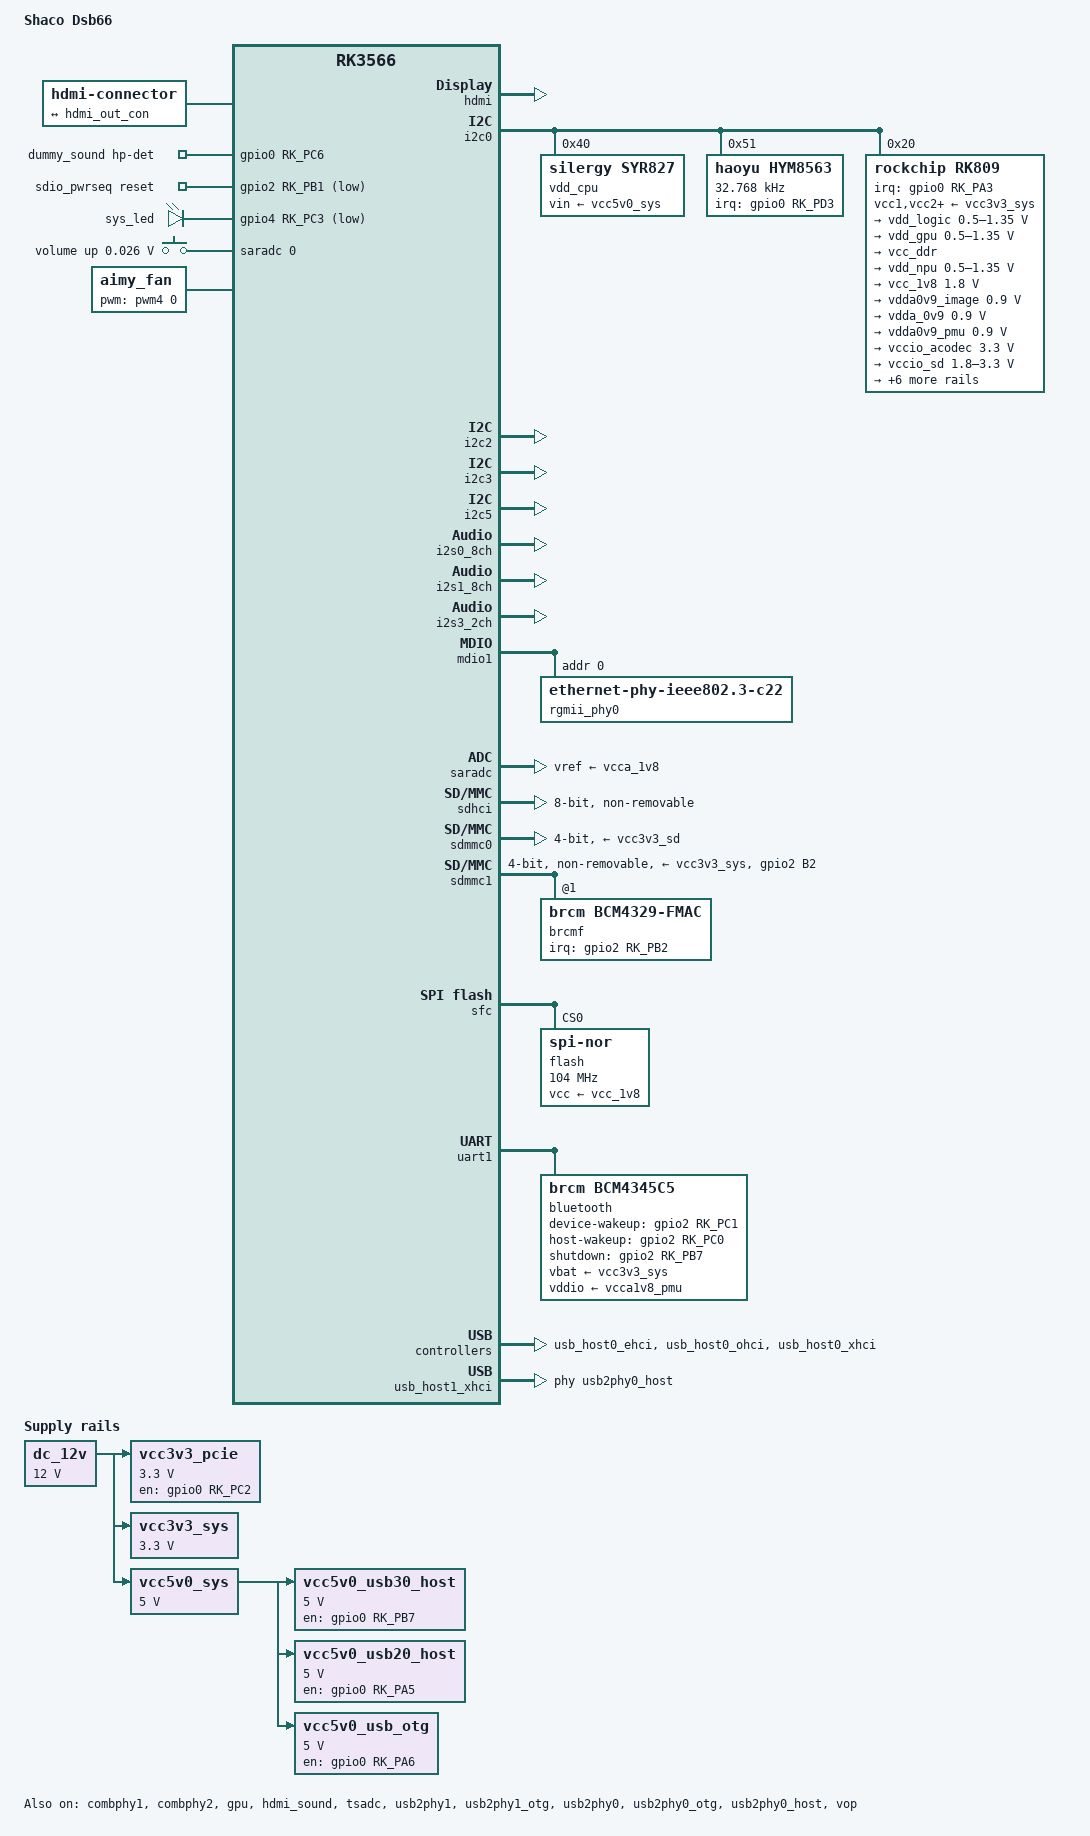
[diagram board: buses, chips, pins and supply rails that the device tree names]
// SPDX-License-Identifier: (GPL-2.0+ OR MIT)

/dts-v1/;
#include <dt-bindings/gpio/gpio.h>
#include <dt-bindings/leds/common.h>
#include <dt-bindings/pinctrl/rockchip.h>
#include <dt-bindings/soc/rockchip,vop2.h>
#include <dt-bindings/input/input.h>
#include "rk3566.dtsi"

/ {
	model = "Shaco Dsb66";
	compatible = "shaco,dsb66", "rockchip,rk3566";

	aliases {
		//ethernet0 = &gmac1;
		mmc0 = &sdmmc0;
		mmc1 = &sdmmc1;
		mmc2 = &sdhci;
		rtc0 = &hym8563;
		rtc1 = &rk809;
	};

	chosen: chosen {
		//stdout-path = "serial2:1500000n8";
		bootargs = "androidboot.serialno=e3bbf55a7ff958e0 no_console_suspend rw rootwait earlycon=uart8250,mmio32,0xfe660000 console=ttyFIQ0";
		//bootargs = "androidboot.serialno=fda8de96e2a5cc73  no_console_suspend rw rootwait earlycon=uart8250,mmio32,0xfe660000";
		//还是要加FIQ0
		//bootargs = "androidboot.serialno=fda8de96e2a5cc73  no_console_suspend rw rootwait earlycon=uart8250,mmio32,0xfe660000 console=ttyFIQ0 loglevel=7";
		//bootargs = "androidboot.serialno=fda8de96e2a5cc73  no_console_suspend rw rootwait earlycon=uart8250,mmio32,0xfe660000 console=ttyFIQ0 loglevel=7";
	};

	reserved-memory {
		#address-cells = <2>;
		#size-cells = <2>;
		ranges;

		//drm-logo@7df00000 {
		//	compatible = "rockchip,drm-logo";
		//	reg = <0x00 0x7df00000 0x00 0x20754c>;
		//};

		//drm-cubic-lut@7ff00000 {
		//	compatible = "rockchip,drm-cubic-lut";
		//	reg = <0x00 0x7ff00000 0x00 0x8000>;
		//};

		ramoops: ramoops@110000 {
			compatible = "ramoops";
			reg = <0 0x110000 0 0xf0000>;
			console-size = <0x80000>;
			ftrace-size = <0x00000>;
			pmsg-size = <0x50000>;
			record-size = <0x20000>;
		};
	};

	fiq-debugger {
		compatible = "rockchip,fiq-debugger";
		rockchip,serial-id = <2>;
		//rockchip,signal-irq = <186>;
		rockchip,wake-irq = <0>;
		rockchip,irq-mode-enable = <1>;
		rockchip,baudrate = <115200>;
		interrupts = <GIC_SPI 252 IRQ_TYPE_LEVEL_LOW>;
		pinctrl-names = "default";
		pinctrl-0 = <&uart2m0_xfer>;
		//status = "disabled";
		status = "okay";
	};

	//gmac1_clkin: external-gmac1-clock {
	//	compatible = "fixed-clock";
	//	clock-frequency = <125000000>;
	//	clock-output-names = "gmac1_clkin";
	//	#clock-cells = <0>;
	//};

	hdmi-con {
		compatible = "hdmi-connector";
		type = "a";

		port {
			hdmi_con_in: endpoint {
				remote-endpoint = <&hdmi_out_con>;
			};
		};
	};

	//leds {
	//	compatible = "gpio-leds";

	//	led-0 {
	//		gpios = <&gpio0 RK_PA0 GPIO_ACTIVE_HIGH>;
	//		function = LED_FUNCTION_HEARTBEAT;
	//		color = <LED_COLOR_ID_BLUE>;
	//		linux,default-trigger = "heartbeat";
	//		pinctrl-names = "default";
	//		pinctrl-0 = <&user_led2>;
	//	};
	//};

	dummy_codec: dummy-codec {
		status = "okay";
		compatible = "rockchip,dummy-codec";
		#sound-dai-cells = <0>;
	};

	// I2S1 ---> PCM5102A
	dummy_sound: dummy-sound {
		status = "okay";
		compatible = "simple-audio-card";
		simple-audio-card,format = "i2s";
		simple-audio-card,name = "rockchip,i2s1-dummy-codec";
		simple-audio-card,mclk-fs = <256>;
		hp-det-gpio = <&gpio0 RK_PC6 GPIO_ACTIVE_HIGH>;

		simple-audio-card,cpu {
			sound-dai = <&i2s1_8ch>;
		};
		simple-audio-card,codec {
			sound-dai = <&dummy_codec>;
		};
	};

	sdio_pwrseq: sdio-pwrseq {
		compatible = "mmc-pwrseq-simple";
		//clocks = <&rk809 1>;
		clocks = <&hym8563>;
		clock-names = "ext_clock";
		pinctrl-names = "default";
		pinctrl-0 = <&wifi_reg_on_h>;
		//post-power-on-delay-ms = <100>;
		post-power-on-delay-ms = <200>;
		power-off-delay-us = <5000000>;
		//reset-gpios = <&gpio0 RK_PC0 GPIO_ACTIVE_LOW>;
		reset-gpios = <&gpio2 RK_PB1 GPIO_ACTIVE_LOW>;
		status = "okay";
	};

	//这两个驱动都没有加进来.....
	debug: debug@fd904000 {
		compatible = "rockchip,debug";
		reg = <0x0 0xfd904000 0x0 0x1000>,
			<0x0 0xfd905000 0x0 0x1000>,
			<0x0 0xfd906000 0x0 0x1000>,
			<0x0 0xfd907000 0x0 0x1000>;
	};

	cspmu: cspmu@fd90c000 {
		compatible = "rockchip,cspmu";
		reg = <0x0 0xfd90c000 0x0 0x1000>,
			<0x0 0xfd90d000 0x0 0x1000>,
			<0x0 0xfd90e000 0x0 0x1000>,
			<0x0 0xfd90f000 0x0 0x1000>;
	};

	//一个是4 pc2,一个是4 pc3
	gpio-leds {
		compatible = "gpio-leds";

		sys_led: sys-led {
			label = "sys_led";
			linux,default-trigger = "heartbeat";
			default-state = "on";
			//gpios = <&gpio0 RK_PC5 GPIO_ACTIVE_LOW>;
			gpios = <&gpio4 RK_PC3 GPIO_ACTIVE_LOW>;
			pinctrl-names = "default";
			pinctrl-0 = <&sys_led_pin>;
		};
	};

	//vcc5v_dcin: vcc5v-dcin-regulator {
	//	compatible = "regulator-fixed";
	//	regulator-name = "vcc5v_dcin";
	//	regulator-always-on;
	//	regulator-boot-on;
	//	regulator-min-microvolt = <5000000>;
	//	regulator-max-microvolt = <5000000>;
	//};
	dc_12v: dc-12v {
		compatible = "regulator-fixed";
		regulator-name = "dc_12v";
		regulator-always-on;
		regulator-boot-on;
		regulator-min-microvolt = <12000000>;
		regulator-max-microvolt = <12000000>;
	};


	vcc3v3_pcie: vcc3v3-pcie-regulator {
		compatible = "regulator-fixed";
		enable-active-high;
		//gpios = <&gpio0 RK_PA6 GPIO_ACTIVE_HIGH>;
		gpios = <&gpio0 RK_PC2 GPIO_ACTIVE_HIGH>;
		pinctrl-names = "default";
		//pinctrl-0 = <&pcie_pwr_en>;
		regulator-name = "vcc3v3_pcie";
		regulator-min-microvolt = <3300000>;
		regulator-max-microvolt = <3300000>;
		startup-delay-us = <5000>;
		//vin-supply = <&vcc3v3_sys>;
		vin-supply = <&dc_12v>;
	};

	vcc3v3_sys: vcc3v3-sys-regulator {
		compatible = "regulator-fixed";
		regulator-name = "vcc3v3_sys";
		regulator-always-on;
		regulator-boot-on;
		regulator-min-microvolt = <3300000>;
		regulator-max-microvolt = <3300000>;
		//vin-supply = <&vcc5v0_sys>;
		vin-supply = <&dc_12v>;
	};

	vcc5v0_sys: vcc5v0-sys-regulator {
		compatible = "regulator-fixed";
		regulator-name = "vcc5v0_sys";
		regulator-always-on;
		regulator-boot-on;
		regulator-min-microvolt = <5000000>;
		regulator-max-microvolt = <5000000>;
		//vin-supply = <&vcc5v_dcin>;
		vin-supply = <&dc_12v>;
	};

	vcc5v0_usb30_host: vcc5v0-usb30-host-regulator {
		compatible = "regulator-fixed";
		enable-active-high;
		//gpio = <&gpio0 RK_PC5 GPIO_ACTIVE_HIGH>;
		gpio = <&gpio0 RK_PB7 GPIO_ACTIVE_HIGH>;
		pinctrl-names = "default";
		pinctrl-0 = <&vcc5v0_usb30_host_en>;
		regulator-name = "vcc5v0_usb30_host";
		regulator-min-microvolt = <5000000>;
		regulator-max-microvolt = <5000000>;
		regulator-always-on;
		vin-supply = <&vcc5v0_sys>;
	};

	vcc5v0_usb20_host: vcc5v0-usb20-host-regulator {
		compatible = "regulator-fixed";
		regulator-min-microvolt = <5000000>;
		regulator-max-microvolt = <5000000>;
		enable-active-high;
		gpio = <&gpio0 RK_PA5 GPIO_ACTIVE_HIGH>;
		pinctrl-names = "default";
		pinctrl-0 = <&vcc5v0_usb20_host_en>;
		regulator-name = "vcc5v0_usb20_host";
		regulator-always-on;
		vin-supply = <&vcc5v0_sys>;
	};

	//对应usb otg
	vcc5v0_usb_otg: vcc5v0-usb-otg-regulator {
		compatible = "regulator-fixed";
		enable-active-high;
		//gpio = <&gpio0 RK_PC6 GPIO_ACTIVE_HIGH>;
		gpio = <&gpio0 RK_PA6 GPIO_ACTIVE_HIGH>;
		pinctrl-names = "default";
		pinctrl-0 = <&vcc5v0_usb_otg_en>;
		regulator-name = "vcc5v0_usb_otg";
		regulator-min-microvolt = <5000000>;
		regulator-max-microvolt = <5000000>;
		regulator-always-on;
		vin-supply = <&vcc5v0_sys>;
	};

	//不需要了,如果需要控制cam的电源这里需要
	//vcc_cam: vcc-cam-regulator {
	//	compatible = "regulator-fixed";
	//	enable-active-high;
	//	gpio = <&gpio0 RK_PC4 GPIO_ACTIVE_HIGH>;
	//	pinctrl-names = "default";
	//	pinctrl-0 = <&vcc_cam_en>;
	//	regulator-name = "vcc_cam";
	//	regulator-min-microvolt = <3300000>;
	//	regulator-max-microvolt = <3300000>;
	//	vin-supply = <&vcc3v3_sys>;

	//	regulator-state-mem {
	//		regulator-off-in-suspend;
	//	};
	//};

	//不需要了,如果需要控制mipi的电源这里需要
	//vcc_mipi: vcc-mipi-regulator {
	//	compatible = "regulator-fixed";
	//	enable-active-high;
	//	gpio = <&gpio0 RK_PC7 GPIO_ACTIVE_HIGH>;
	//	pinctrl-names = "default";
	//	pinctrl-0 = <&vcc_mipi_en>;
	//	regulator-name = "vcc_mipi";
	//	regulator-min-microvolt = <3300000>;
	//	regulator-max-microvolt = <3300000>;
	//	vin-supply = <&vcc3v3_sys>;

	//	regulator-state-mem {
	//		regulator-off-in-suspend;
	//	};
	//};

	//这两个都不需要了, 应该用新的方式
	//wireless_wlan: wireless-wlan {
	//	compatible = "wlan-platdata";
	//	rockchip,grf = <&grf>;
	//	wifi_chip_type = "ap6398s";
	//	pinctrl-names = "default";
	//	pinctrl-0 = <&wifi_host_wake_h>;
	//	WIFI,host_wake_irq = <&gpio2 RK_PB2 GPIO_ACTIVE_HIGH>;
	//	status = "okay";
	//};

	//wireless_bluetooth: wireless-bluetooth {
	//	compatible = "bluetooth-platdata";
	//	clocks = <&hym8563>;
	//	clock-names = "ext_clock";
	//	//wifi-bt-power-toggle;
	//	uart_rts_gpios = <&gpio2 RK_PB5 GPIO_ACTIVE_LOW>;
	//	pinctrl-names = "default", "rts_gpio";
	//	pinctrl-0 = <&uart1m0_rtsn>;
	//	pinctrl-1 = <&uart1_gpios>;
	//	BT,reset_gpio    = <&gpio2 RK_PB7 GPIO_ACTIVE_HIGH>;
	//	BT,wake_gpio     = <&gpio2 RK_PC1 GPIO_ACTIVE_HIGH>;
	//	BT,wake_host_irq = <&gpio2 RK_PC0 GPIO_ACTIVE_HIGH>;
	//	status = "okay";
	//};

	//gpio_keys: gpio-keys {
	//	status = "okay";
	//	compatible = "gpio-keys";

	//	headphone_det {
	//		debounce-interval = <100>;
	//		gpios = <&gpio0 RK_PC6 GPIO_ACTIVE_LOW>;
	//		label = "headphone_det";
	//		linux,code = <KEY_KP0>;
	//	};
	//};

	adc_keys: adc-keys {
		compatible = "adc-keys";
		pinctrl-names = "default";
		pinctrl-0 = <&mcu_ch32_en &pcm5102_smt_en>;
		io-channels = <&saradc 0>;
		io-channel-names = "buttons";
		keyup-threshold-microvolt = <1800000>;
		poll-interval = <100>;

		vol-up-key {
			label = "volume up";
			linux,code = <KEY_VOLUMEUP>;
			press-threshold-microvolt = <26000>;
		};
	};

	aimy_fan: aimy-fan {
		status = "okay";
		compatible = "aimy_fan";
		pwms = <&pwm4 0 10000000 0>;
	};

};

//&gic {
//		//compatible = "arm,gic-v3";
//		//#interrupt-cells = <3>;
//		#address-cells = <2>;
//		#size-cells = <2>;
//		ranges;
//		//interrupt-controller;
//
//		//reg = <0x0 0xfd400000 0 0x10000>,
//		//	  <0x0 0xfd460000 0 0xc0000>;
//		//interrupts = <GIC_PPI 9 IRQ_TYPE_LEVEL_HIGH>;
//		its: interrupt-controller@fd440000 {
//			compatible = "arm,gic-v3-its";
//			msi-controller;
//			#msi-cells = <1>;
//			reg = <0x0 0xfd440000 0x0 0x20000>;
//		};
//	};

&gic{
	compatible = "arm,gic-v3";
	reg = <0x0 0xfd400000 0 0x10000>, /* GICD */
	<0x0 0xfd460000 0 0x80000>; /* GICR */
	interrupts = <GIC_PPI 9 IRQ_TYPE_LEVEL_HIGH>;
	interrupt-controller;
	#interrupt-cells = <3>;
	mbi-alias = <0x0 0xfd410000>;
	mbi-ranges = <296 24>;
	msi-controller;
	ranges;
	#address-cells = <2>;
	#size-cells = <2>;
	dma-noncoherent;

	its: msi-controller@fd440000 {
		compatible = "arm,gic-v3-its";
		reg = <0x0 0xfd440000 0 0x20000>;
		dma-noncoherent;
		msi-controller;
		#msi-cells = <1>;
	};
};


//&gpio0 {
//	/delete-property/ gpio-ranges;
//};
//&gpio1 {
//	/delete-property/ gpio-ranges;
//};
//&gpio2 {
//	/delete-property/ gpio-ranges;
//};
//&gpio3 {
//	/delete-property/ gpio-ranges;
//};
//&gpio4 {
//	/delete-property/ gpio-ranges;
//};

&combphy1 {
	status = "okay";
};

&combphy2 {
	status = "okay";
	//status = "disabled";
};

&cpu0 {
	cpu-supply = <&vdd_cpu>;
};

&cpu1 {
	cpu-supply = <&vdd_cpu>;
};

&cpu2 {
	cpu-supply = <&vdd_cpu>;
};

&cpu3 {
	cpu-supply = <&vdd_cpu>;
};

//这个不需要,会编译错误
//&gmac1 {
//	assigned-clocks = <&cru SCLK_GMAC1_RX_TX>, <&cru SCLK_GMAC1>;
//	assigned-clock-parents = <&cru SCLK_GMAC1_RGMII_SPEED>, <&gmac1_clkin>;
//	clock_in_out = "input";
//	phy-handle = <&rgmii_phy1>;
//	phy-mode = "rgmii-id";
//	phy-supply = <&vcc_3v3>;
//	pinctrl-names = "default";
//	pinctrl-0 = <&gmac1m1_miim
//		     &gmac1m1_tx_bus2
//		     &gmac1m1_rx_bus2
//		     &gmac1m1_rgmii_clk
//		     &gmac1m1_rgmii_bus
//		     &gmac1m1_clkinout>;
//	//status = "okay";
//	status = "disabled";
//};

&gpu {
	mali-supply = <&vdd_gpu>;
	status = "okay";
};

&hdmi {
	avdd-0v9-supply = <&vdda0v9_image>;
	avdd-1v8-supply = <&vcca1v8_image>;
	status = "okay";
};

&hdmi_in {
	hdmi_in_vp0: endpoint {
		remote-endpoint = <&vp0_out_hdmi>;
	};
};

&hdmi_out {
	hdmi_out_con: endpoint {
		remote-endpoint = <&hdmi_con_in>;
	};
};

&hdmi_sound {
	status = "okay";
	//添加,应该不用rockchip_hdmi.c方式,就不用加下面的了,用simple audio card的方式
	//rockchip,jack-det;
};

&i2c0 {
	status = "okay";

	vdd_cpu: regulator@40 {
		//compatible = "silergy,syr827";
		//reg = <0x40>;
		//fcs,suspend-voltage-selector = <1>;
		//regulator-name = "vdd_cpu";
		//regulator-always-on;
		//regulator-boot-on;
		//regulator-min-microvolt = <830000>;
		//regulator-max-microvolt = <1200000>;
		//regulator-ramp-delay = <2300>;
		//vin-supply = <&vcc5v0_sys>;

		//regulator-state-mem {
		//	regulator-off-in-suspend;
		//};
		compatible = "silergy,syr827";
		reg = <0x40>;
		vin-supply = <&vcc5v0_sys>;
		regulator-compatible = "fan53555-reg";
		regulator-name = "vdd_cpu";
		regulator-min-microvolt = <712500>;
		regulator-max-microvolt = <1390000>;
		regulator-init-microvolt = <900000>;
		regulator-ramp-delay = <2300>;
		fcs,suspend-voltage-selector = <1>;
		regulator-boot-on;
		regulator-always-on;
		regulator-state-mem {
			regulator-off-in-suspend;
		};

	};

	hym8563: hym8563@51 {
		compatible = "haoyu,hym8563";
		reg = <0x51>;
		#clock-cells = <0>;
		clock-frequency = <32768>;
		clock-output-names = "hym8563";
		pinctrl-names = "default";
		pinctrl-0 = <&rtc_int>;
		interrupt-parent = <&gpio0>;
		interrupts = <RK_PD3 IRQ_TYPE_LEVEL_LOW>;
		wakeup-source;
	};


	rk809: pmic@20 {
		compatible = "rockchip,rk809";
		reg = <0x20>;
		interrupt-parent = <&gpio0>;
		interrupts = <RK_PA3 IRQ_TYPE_LEVEL_LOW>;
		clock-output-names = "rk808-clkout1", "rk808-clkout2";
		pinctrl-names = "default";
		//pinctrl-0 = <&pmic_int_l>, <&i2s1m0_mclk>;
		pinctrl-0 = <&pmic_int_l>;
		rockchip,system-power-controller;
		vcc1-supply = <&vcc3v3_sys>;
		vcc2-supply = <&vcc3v3_sys>;
		vcc3-supply = <&vcc3v3_sys>;
		vcc4-supply = <&vcc3v3_sys>;
		vcc5-supply = <&vcc3v3_sys>;
		vcc6-supply = <&vcc3v3_sys>;
		vcc7-supply = <&vcc3v3_sys>;
		vcc8-supply = <&vcc3v3_sys>;
		vcc9-supply = <&vcc3v3_sys>;
		wakeup-source;
		#clock-cells = <1>;
		#sound-dai-cells = <0>;

		//codec {
		//	rockchip,mic-in-differential;
		//};

		regulators {
			vdd_logic: DCDC_REG1 {
				regulator-name = "vdd_logic";
				regulator-always-on;
				regulator-boot-on;
				regulator-initial-mode = <0x2>;
				regulator-min-microvolt = <500000>;
				regulator-max-microvolt = <1350000>;
				regulator-ramp-delay = <6001>;

				regulator-state-mem {
					regulator-off-in-suspend;
				};
			};

			vdd_gpu: DCDC_REG2 {
				regulator-name = "vdd_gpu";
				regulator-always-on;
				regulator-boot-on;
				regulator-initial-mode = <0x2>;
				regulator-min-microvolt = <500000>;
				regulator-max-microvolt = <1350000>;
				regulator-ramp-delay = <6001>;

				regulator-state-mem {
					regulator-off-in-suspend;
				};
			};

			vcc_ddr: DCDC_REG3 {
				regulator-name = "vcc_ddr";
				regulator-always-on;
				regulator-boot-on;
				regulator-initial-mode = <0x2>;

				regulator-state-mem {
					regulator-on-in-suspend;
				};
			};

			vdd_npu: DCDC_REG4 {
				regulator-name = "vdd_npu";
				regulator-initial-mode = <0x2>;
				regulator-min-microvolt = <500000>;
				regulator-max-microvolt = <1350000>;
				regulator-ramp-delay = <6001>;

				regulator-state-mem {
					regulator-off-in-suspend;
				};
			};

			vcc_1v8: DCDC_REG5 {
				regulator-name = "vcc_1v8";
				regulator-always-on;
				regulator-boot-on;
				regulator-min-microvolt = <1800000>;
				regulator-max-microvolt = <1800000>;

				regulator-state-mem {
					regulator-off-in-suspend;
				};
			};

			vdda0v9_image: LDO_REG1 {
				regulator-name = "vdda0v9_image";
				regulator-min-microvolt = <900000>;
				regulator-max-microvolt = <900000>;

				regulator-state-mem {
					regulator-off-in-suspend;
					regulator-suspend-microvolt = <900000>;
				};
			};

			vdda_0v9: LDO_REG2 {
				regulator-name = "vdda_0v9";
				regulator-always-on;
				regulator-boot-on;
				regulator-min-microvolt = <900000>;
				regulator-max-microvolt = <900000>;

				regulator-state-mem {
					regulator-off-in-suspend;
				};
			};

			vdda0v9_pmu: LDO_REG3 {
				regulator-name = "vdda0v9_pmu";
				regulator-always-on;
				regulator-boot-on;
				regulator-min-microvolt = <900000>;
				regulator-max-microvolt = <900000>;

				regulator-state-mem {
					regulator-on-in-suspend;
					regulator-suspend-microvolt = <900000>;
				};
			};

			vccio_acodec: LDO_REG4 {
				regulator-name = "vccio_acodec";
				regulator-always-on;
				regulator-boot-on;
				regulator-min-microvolt = <3300000>;
				regulator-max-microvolt = <3300000>;

				regulator-state-mem {
					regulator-off-in-suspend;
					regulator-suspend-microvolt = <3300000>;
				};
			};

			vccio_sd: LDO_REG5 {
				regulator-name = "vccio_sd";
				regulator-min-microvolt = <1800000>;
				regulator-max-microvolt = <3300000>;
				//增加常打开标志
				regulator-always-on;
				regulator-boot-on;

				regulator-state-mem {
					regulator-off-in-suspend;
					//regulator-suspend-microvolt = <3300000>;
				};
			};

			vcc3v3_pmu: LDO_REG6 {
				regulator-name = "vcc3v3_pmu";
				regulator-always-on;
				regulator-boot-on;
				regulator-min-microvolt = <3300000>;
				regulator-max-microvolt = <3300000>;

				regulator-state-mem {
					regulator-on-in-suspend;
					regulator-suspend-microvolt = <3300000>;
				};
			};

			vcca_1v8: LDO_REG7 {
				regulator-name = "vcca_1v8";
				regulator-always-on;
				regulator-boot-on;
				regulator-min-microvolt = <1800000>;
				regulator-max-microvolt = <1800000>;

				regulator-state-mem {
					regulator-off-in-suspend;
				};
			};

			vcca1v8_pmu: LDO_REG8 {
				regulator-name = "vcca1v8_pmu";
				regulator-always-on;
				regulator-boot-on;
				regulator-min-microvolt = <1800000>;
				regulator-max-microvolt = <1800000>;

				regulator-state-mem {
					regulator-on-in-suspend;
					regulator-suspend-microvolt = <1800000>;
				};
			};

			vcca1v8_image: LDO_REG9 {
				regulator-name = "vcca1v8_image";
				regulator-min-microvolt = <1800000>;
				regulator-max-microvolt = <1800000>;

				regulator-state-mem {
					regulator-off-in-suspend;
				};
			};

			vcc_3v3: SWITCH_REG1 {
				regulator-name = "vcc_3v3";
				regulator-always-on;
				regulator-boot-on;

				regulator-state-mem {
					regulator-off-in-suspend;
				};
			};

			vcc3v3_sd: SWITCH_REG2 {
				regulator-name = "vcc3v3_sd";
				regulator-always-on;
				regulator-boot-on;

				regulator-state-mem {
					regulator-off-in-suspend;
				};
			};
		};
	};
};

&i2c0 {
	status = "okay";
};

&i2c2 {
	status = "okay";
	pinctrl-0 = <&i2c2m1_xfer>;
};

&i2c3 {
	status = "okay";
};

&i2c4 {
	/* i2c4 sda conflict with camera pwdn */
	status = "disabled";
};

&i2c5 {
	status = "okay";
};

&i2s0_8ch {
	status = "okay";
	//rockchip,trcm-sync-tx-only;
	//rockchip,clk-trcm = <1>;
	//pinctrl-names = "default";
	//pinctrl-0 = <&i2s1m1_mclk &i2s1m1_sclktx &i2s1m1_lrcktx	&i2s1m1_sdo0>;
};

&i2s1_8ch {
	pinctrl-names = "default";
	//pinctrl-0 = <&i2s1m0_sclktx &i2s1m0_lrcktx &i2s1m0_sdi0 &i2s1m0_sdo0>;
	pinctrl-0 = <&i2s1m1_sclktx &i2s1m1_lrcktx &i2s1m1_sdi0 &i2s1m1_sdo0>;
	rockchip,trcm-sync-tx-only;
	status = "okay";
};

&i2s3_2ch {
	status = "okay";
	rockchip,clk-trcm = <1>;
	pinctrl-names = "default";
	pinctrl-0 = <&i2s3m0_mclk &i2s3m0_sclk &i2s3m0_lrck &i2s3m0_sdo>;
};

&mdio1 {
	rgmii_phy0: phy@0 {
		compatible = "ethernet-phy-ieee802.3-c22";
		reg = <0x0>;
		//reg = <0x1>;
		//reset-assert-us = <20000>;
		//reset-deassert-us = <100000>;
		//reset-gpios = <&gpio3 RK_PC0 GPIO_ACTIVE_LOW>;
	};
};

&pcie2x1 {
	pinctrl-names = "default";
	//这个要注释了,不然会提示没有节点
	//pinctrl-0 = <&pcie_reset_h>;
	reset-gpios = <&gpio1 RK_PB2 GPIO_ACTIVE_HIGH>;
	vpcie3v3-supply = <&vcc3v3_pcie>;
	//status = "okay";
	status = "disable";
};

&pmu_io_domains {
	pmuio1-supply = <&vcc3v3_pmu>;
	pmuio2-supply = <&vcc3v3_pmu>;
	vccio1-supply = <&vccio_acodec>;
	vccio2-supply = <&vcc_1v8>;
	vccio3-supply = <&vccio_sd>;
	vccio4-supply = <&vcca1v8_pmu>;
	vccio5-supply = <&vcc_3v3>;
	vccio6-supply = <&vcc_3v3>;
	vccio7-supply = <&vcc_3v3>;
	status = "okay";
};

&saradc {
	vref-supply = <&vcca_1v8>;
	status = "okay";
};

&sdhci {
	//bus-width = <8>;
	//max-frequency = <200000000>;
	//mmc-hs200-1_8v;
	//non-removable;
	//pinctrl-names = "default";
	//pinctrl-0 = <&emmc_bus8 &emmc_clk &emmc_cmd &emmc_datastrobe>;
	//vmmc-supply = <&vcc_3v3>;
	//vqmmc-supply = <&vcc_1v8>;
	//status = "okay";
	//这个是emmc的配置,看看别的配置怎么写的,比如鲁班猫的
	assigned-clocks = <&cru BCLK_EMMC>, <&cru TCLK_EMMC>, <&cru CCLK_EMMC>;
	assigned-clock-rates = <200000000>, <24000000>, <200000000>;
	bus-width = <8>;
	max-frequency = <200000000>;
	mmc-hs200-1_8v;
	non-removable;
	pinctrl-names = "default";
	pinctrl-0 = <&emmc_bus8 &emmc_clk &emmc_cmd &emmc_datastrobe>;
	status = "okay";
};

&sdmmc0 {
	max-frequency = <150000000>;
	supports-sd;
	bus-width = <4>;
	cap-mmc-highspeed;
	cap-sd-highspeed;
	disable-wp;
	pinctrl-names = "default";
	pinctrl-0 = <&sdmmc0_bus4 &sdmmc0_clk &sdmmc0_cmd &sdmmc0_det>;
	//sd-uhs-sdr50;
	//修改成104高速
	sd-uhs-sdr104;
	vmmc-supply = <&vcc3v3_sd>;
	vqmmc-supply = <&vccio_sd>;
	status = "okay";
};

&sdmmc1 {
	max-frequency = <50000000>;
	supports-sdio;
	bus-width = <4>;
	disable-wp;
	cap-sd-highspeed;
	//cap-sdio-irq;
	keep-power-in-suspend;
	mmc-pwrseq = <&sdio_pwrseq>;
	non-removable;
	pinctrl-names = "default";
	pinctrl-0 = <&sdmmc1_bus4 &sdmmc1_clk &sdmmc1_cmd &wifi_host_wake_h>;
	sd-uhs-sdr104;
	vmmc-supply = <&vcc3v3_sys>;
	vqmmc-supply = <&vcca1v8_pmu>;
	status = "okay";
	//interrupt-parent = <&gpio2>;
    //interrupts = <RK_PB2 IRQ_TYPE_LEVEL_LOW>;
    //interrupt-names = "host-wake";
	#address-cells = <1>;
    #size-cells = <0>;
	brcmf: wifi@1 {
        compatible = "brcm,bcm4329-fmac";
        reg = <1>;
        interrupt-parent = <&gpio2>;
        interrupts = <RK_PB2 IRQ_TYPE_LEVEL_LOW>;
        interrupt-names = "host-wake";
    };
};

&sfc {
	#address-cells = <1>;
	#size-cells = <0>;
	status = "okay";

	flash@0 {
		compatible = "jedec,spi-nor";
		reg = <0x0>;
		spi-max-frequency = <104000000>;
		spi-rx-bus-width = <4>;
		spi-tx-bus-width = <1>;
		vcc-supply = <&vcc_1v8>;
	};
};

&tsadc {
	rockchip,hw-tshut-mode = <1>;
	rockchip,hw-tshut-polarity = <0>;
	status = "okay";
};

&uart1 {
	pinctrl-names = "default";
	pinctrl-0 = <&uart1m0_xfer &uart1m0_ctsn &uart1m0_rtsn>;
	//pinctrl-0 = <&uart1m0_ctsn &uart1m0_xfer>;
	status = "okay";
	bluetooth {
		compatible = "brcm,bcm4345c5";
		//compatible = "brcm,bcm43438-bt";
		clocks = <&hym8563>;
		clock-names = "lpo";
		device-wakeup-gpios = <&gpio2 RK_PC1 GPIO_ACTIVE_HIGH>;
		host-wakeup-gpios = <&gpio2 RK_PC0 GPIO_ACTIVE_HIGH>;
		shutdown-gpios = <&gpio2 RK_PB7 GPIO_ACTIVE_HIGH>;
		pinctrl-names = "default";
		//max-speed = <115200>;
		pinctrl-0 = <&bt_host_wake_h &bt_reg_on_h &bt_wake_host_h>;
		vbat-supply = <&vcc3v3_sys>;
		vddio-supply = <&vcca1v8_pmu>;
	};
};

&uart2 {
	//status = "okay";
	status = "disabled";
};

&usb2phy1 {
	status = "okay";
};

//usb2.0 host2
&usb2phy1_otg {
	phy-supply = <&vcc5v0_usb20_host>;
	status = "okay";
};

//对应的是USB 2.0 Host_2-->对应的是usb2 phy1 port0
&usb_host0_ehci {
	status = "okay";
};

&usb_host0_ohci {
	status = "okay";
};
//usb2.0 host2

//usb2.0 host3
//&usb2phy1_host {
//	phy-supply = <&vcc5v0_usb20_host>;
//	status = "okay";
//};

//对应的是USB 2.0 Host_3-->对应的是usb2 phy1 port1
//&usb_host1_ehci {
//	status = "okay";
//};
//
//&usb_host1_ohci {
//	status = "okay";
//};
//usb2.0 host3

&usb2phy0 {
	status = "okay";
};
//xhci是3.0的接口,一个对应otg2.0,一个对应host3.0,3566只支持otg2.0
//所以这个是otg2.0
&usb_host0_xhci {
	//dr_mode = "host";
	status = "okay";
};

&usb2phy0_otg {
	phy-supply = <&vcc5v0_usb_otg>;
	status = "okay";
};

//host3.0端口
&usb_host1_xhci {
	phys = <&usb2phy0_host>;
	//phy-names = "usb3-phy";
	//phy-names = "usb2-phy";
	maximum-speed = "high-speed";
	status = "okay";
};

&usb2phy0_host {
	phy-supply = <&vcc5v0_usb30_host>;
	status = "okay";
};

&vop {
	assigned-clocks = <&cru DCLK_VOP0>, <&cru DCLK_VOP1>;
	assigned-clock-parents = <&pmucru PLL_HPLL>, <&cru PLL_VPLL>;
	status = "okay";
};

&vop_mmu {
	status = "okay";
};

&vp0 {
	vp0_out_hdmi: endpoint@ROCKCHIP_VOP2_EP_HDMI0 {
		reg = <ROCKCHIP_VOP2_EP_HDMI0>;
		remote-endpoint = <&hdmi_in_vp0>;
	};
};

&pinctrl {
	bluetooth {
		bt_reg_on_h: bt-reg-on-h {
			rockchip,pins = <2 RK_PB7 RK_FUNC_GPIO &pcfg_pull_none>;
		};

		bt_wake_host_h: bt-wake-host-h {
			rockchip,pins = <2 RK_PC0 RK_FUNC_GPIO &pcfg_pull_none>;
		};

		bt_host_wake_h: bt-host-wake-h {
			rockchip,pins = <2 RK_PC1 RK_FUNC_GPIO &pcfg_pull_none>;
		};
	};

	//这个不要了
	//wireless-bluetooth {
	//	uart1_gpios: uart1-gpios {
	//		rockchip,pins = <2 RK_PB5 RK_FUNC_GPIO &pcfg_pull_none>;
	//	};
	//};

	//这个不要了
	//cam {
	//	vcc_cam_en: vcc_cam_en {
	//		rockchip,pins = <0 RK_PC4 RK_FUNC_GPIO &pcfg_pull_none>;
	//	};
	//};

	//这个不要了
	//display {
	//	vcc_mipi_en: vcc_mipi_en {
	//		rockchip,pins = <0 RK_PC7 RK_FUNC_GPIO &pcfg_pull_none>;
	//	};
	//};

	//这个不要了
	//leds {
	//	user_led2: user-led2 {
	//		rockchip,pins = <0 RK_PA0 RK_FUNC_GPIO &pcfg_pull_none>;
	//	};
	//};

	//这个不要了
	//pcie {
	//	pcie_pwr_en: pcie-pwr-en {
	//		rockchip,pins = <0 RK_PA6 RK_FUNC_GPIO &pcfg_pull_none>;
	//	};

	//	pcie_reset_h: pcie-reset-h {
	//		rockchip,pins = <1 RK_PB2 RK_FUNC_GPIO &pcfg_pull_none>;
	//	};
	//};

	pmic {
		pmic_int_l: pmic-int-l {
			rockchip,pins = <0 RK_PA3 RK_FUNC_GPIO &pcfg_pull_up>;
		};
	};

	usb {
		vcc5v0_usb30_host_en: vcc5v0-usb30-host-en {
			//rockchip,pins = <0 RK_PC5 RK_FUNC_GPIO &pcfg_pull_none>;
			rockchip,pins = <0 RK_PB7 RK_FUNC_GPIO &pcfg_pull_none>;
		};

		vcc5v0_usb20_host_en: vcc5v0-usb20-host-en {
			rockchip,pins = <0 RK_PA5 RK_FUNC_GPIO &pcfg_pull_none>;
		};

		vcc5v0_usb_otg_en: vcc5v0-usb-otg-en {
			//rockchip,pins = <0 RK_PC6 RK_FUNC_GPIO &pcfg_pull_none>;
			rockchip,pins = <0 RK_PA6 RK_FUNC_GPIO &pcfg_pull_none>;
		};
	};

	rtc {
		rtc_int: rtc-int {
			rockchip,pins = <0 RK_PD3 RK_FUNC_GPIO &pcfg_pull_none>;
		};
	};

	//单独放在 sdio 下面
	sdio-pwrseq {
		wifi_reg_on_h: wifi-reg-on-h {
			//rockchip,pins = <0 RK_PC0 RK_FUNC_GPIO &pcfg_pull_none>;
			rockchip,pins = <2 RK_PB1 RK_FUNC_GPIO &pcfg_pull_none>;
		};
	};

	wifi {
		wifi_host_wake_h: wifi-host-wake-h {
			//rockchip,pins = <0 RK_PB7 RK_FUNC_GPIO &pcfg_pull_none>;
			rockchip,pins = <2 RK_PB2 RK_FUNC_GPIO &pcfg_pull_none>;
		};
	};

	aimy {
		mcu_ch32_en: mcu-ch32-en {
			rockchip,pins = <0 RK_PC7 RK_FUNC_GPIO &pcfg_output_high>;
		};

		pcm5102_smt_en: pcm5102-smt-en {
			rockchip,pins = <4 RK_PC0 RK_FUNC_GPIO &pcfg_output_high>;
		};
	};

	leds {
		sys_led_pin: sys-status-led-pin {
			rockchip,pins = <4 RK_PC3 RK_FUNC_GPIO &pcfg_pull_none>;
		};
	};
};

